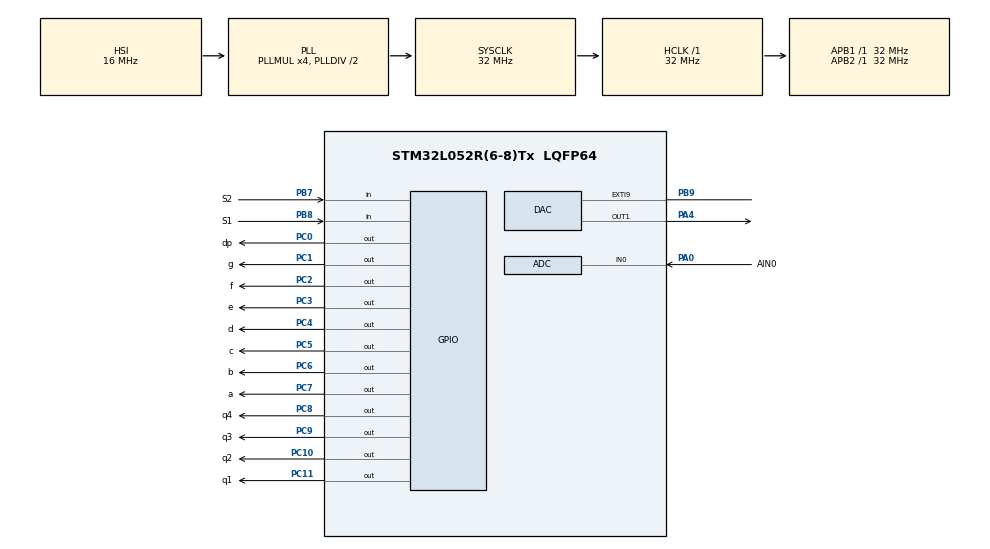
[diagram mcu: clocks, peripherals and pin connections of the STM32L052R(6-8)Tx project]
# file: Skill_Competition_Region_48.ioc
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ADC.EOCSelection=ADC_EOC_SINGLE_SEQ_CONV
DAC.DAC_Trigger=DAC_TRIGGER_EXT_IT9
Dma.DAC_CH1.0.Direction=DMA_MEMORY_TO_PERIPH
Dma.DAC_CH1.0.Instance=DMA1_Channel2
Dma.DAC_CH1.0.MemDataAlignment=DMA_MDATAALIGN_HALFWORD
Dma.DAC_CH1.0.MemInc=DMA_MINC_ENABLE
Dma.DAC_CH1.0.Mode=DMA_CIRCULAR
Dma.DAC_CH1.0.PeriphDataAlignment=DMA_PDATAALIGN_HALFWORD
Dma.DAC_CH1.0.PeriphInc=DMA_PINC_DISABLE
Dma.DAC_CH1.0.Priority=DMA_PRIORITY_LOW
Dma.Request0=DAC_CH1
Mcu.Family=STM32L0
Mcu.Name=STM32L052R(6-8)Tx
Mcu.Package=LQFP64
NVIC.ADC1_COMP_IRQn=true\:0\:0\:true\:false\:true\:true
NVIC.DMA1_Channel2_3_IRQn=true\:1\:0\:true\:false\:true\:false
NVIC.EXTI4_15_IRQn=true\:0\:0\:false\:false\:true\:true
NVIC.TIM21_IRQn=true\:3\:0\:true\:false\:true\:true
PA0.GPIO_Label=AIN0
PA0.Mode=IN0
PA0.Signal=ADC_IN0
PA4.Signal=COMP_DAC1_group
PB7.GPIO_Label=S2
PB7.Signal=GPIO_Input
PB8.GPIO_Label=S1
PB8.Signal=GPIO_Input
PB9.Signal=GPXTI9
PC0.GPIO_Label=dp
PC0.Signal=GPIO_Output
PC1.GPIO_Label=g
PC1.Signal=GPIO_Output
PC10.GPIO_Label=q2
PC10.PinState=GPIO_PIN_SET
PC10.Signal=GPIO_Output
PC11.GPIO_Label=q1
PC11.PinState=GPIO_PIN_SET
PC11.Signal=GPIO_Output
PC2.GPIO_Label=f
PC2.Signal=GPIO_Output
PC3.GPIO_Label=e
PC3.Signal=GPIO_Output
PC4.GPIO_Label=d
PC4.Signal=GPIO_Output
PC5.GPIO_Label=c
PC5.Signal=GPIO_Output
PC6.GPIO_Label=b
PC6.Signal=GPIO_Output
PC7.GPIO_Label=a
PC7.Signal=GPIO_Output
PC8.GPIO_Label=q4
PC8.PinState=GPIO_PIN_SET
PC8.Signal=GPIO_Output
PC9.GPIO_Label=q3
PC9.PinState=GPIO_PIN_SET
PC9.Signal=GPIO_Output
ProjectManager.HeapSize=0x200
ProjectManager.StackSize=0x400
ProjectManager.TargetToolchain=MDK-ARM V5
RCC.AHBFreq_Value=32000000
RCC.APB1Freq_Value=32000000
RCC.APB1TimFreq_Value=32000000
RCC.APB2Freq_Value=32000000
RCC.APB2TimFreq_Value=32000000
RCC.HCLKFreq_Value=32000000
RCC.HSE_VALUE=8000000
RCC.HSI16_VALUE=16000000
RCC.HSI48_VALUE=48000000
RCC.HSI_VALUE=16000000
RCC.LSE_VALUE=32768
RCC.MSI_VALUE=2097000
RCC.PLLMUL=RCC_PLLMUL_4
RCC.SYSCLKFreq_VALUE=32000000
RCC.SYSCLKSource=RCC_SYSCLKSOURCE_PLLCLK
RCC.VCOOutputFreq_Value=64000000
SH.COMP_DAC1_group.0=DAC_OUT1,DAC_OUT1
TIM21.Period=1000
TIM21.Prescaler=16
VP_TIM21_VS_ClockSourceINT.Mode=Internal
board=Skill_Competition_Region_48

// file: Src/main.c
/**
  ******************************************************************************
  * @file           : main.c
  * @brief          : Main program body
  ******************************************************************************
  ** This notice applies to any and all portions of this file
  * that are not between comment pairs USER CODE BEGIN and
  * USER CODE END. Other portions of this file, whether
  * inserted by the user or by software development tools
  * are owned by their respective copyright owners.
  *
  * COPYRIGHT(c) 2018 STMicroelectronics
  *
  * Redistribution and use in source and binary forms, with or without modification,
  * are permitted provided that the following conditions are met:
  *   1. Redistributions of source code must retain the above copyright notice,
  *      this list of conditions and the following disclaimer.
  *   2. Redistributions in binary form must reproduce the above copyright notice,
  *      this list of conditions and the following disclaimer in the documentation
  *      and/or other materials provided with the distribution.
  *   3. Neither the name of STMicroelectronics nor the names of its contributors
  *      may be used to endorse or promote products derived from this software
  *      without specific prior written permission.
  *
  * THIS SOFTWARE IS PROVIDED BY THE COPYRIGHT HOLDERS AND CONTRIBUTORS "AS IS"
  * AND ANY EXPRESS OR IMPLIED WARRANTIES, INCLUDING, BUT NOT LIMITED TO, THE
  * IMPLIED WARRANTIES OF MERCHANTABILITY AND FITNESS FOR A PARTICULAR PURPOSE ARE
  * DISCLAIMED. IN NO EVENT SHALL THE COPYRIGHT HOLDER OR CONTRIBUTORS BE LIABLE
  * FOR ANY DIRECT, INDIRECT, INCIDENTAL, SPECIAL, EXEMPLARY, OR CONSEQUENTIAL
  * DAMAGES (INCLUDING, BUT NOT LIMITED TO, PROCUREMENT OF SUBSTITUTE GOODS OR
  * SERVICES; LOSS OF USE, DATA, OR PROFITS; OR BUSINESS INTERRUPTION) HOWEVER
  * CAUSED AND ON ANY THEORY OF LIABILITY, WHETHER IN CONTRACT, STRICT LIABILITY,
  * OR TORT (INCLUDING NEGLIGENCE OR OTHERWISE) ARISING IN ANY WAY OUT OF THE USE
  * OF THIS SOFTWARE, EVEN IF ADVISED OF THE POSSIBILITY OF SUCH DAMAGE.
  *
  ******************************************************************************
  */
#include "main.h"
#include "stm32l0xx_hal.h"

/* USER CODE BEGIN Includes */
#include "math.h"
#define div 4		//除 4
/* USER CODE END Includes */

ADC_HandleTypeDef hadc;

DAC_HandleTypeDef hdac;
DMA_HandleTypeDef hdma_dac_ch1;

TIM_HandleTypeDef htim21;

/* USER CODE BEGIN PV */
/* Private variables ---------------------------------------------------------*/

/* USER CODE END PV */

void SystemClock_Config(void);
static void MX_GPIO_Init(void);
static void MX_DMA_Init(void);
static void MX_TIM21_Init(void);
static void MX_ADC_Init(void);
static void MX_DAC_Init(void);

/* USER CODE BEGIN PFP */
/* Private function prototypes -----------------------------------------------*/

uint8_t Task = 0;  //項目(任務)
uint8_t Time_Flag = 0;		//時間旗標
uint16_t Past_Time = 0;   //過去時間
uint16_t Present_Time = 0;//現在時間
uint16_t Timer_clock = 0;

/*--------------------數位轉類比(D/A)函式及變數------------------------------------*/
uint8_t Mode = 1;

const uint16_t Wave_forms_Table[][120] = 		//數位轉類比查表
{
		{   // Sin wave
				0x7ff /div, 0x86a /div, 0x8d5 /div, 0x93f /div, 0x9a9 /div, 0xa11 /div, 0xa78 /div, 0xadd /div, 0xb40 /div, 0xba1 /div,
				0xbff /div, 0xc5a /div, 0xcb2 /div, 0xd08 /div, 0xd59 /div, 0xda7 /div, 0xdf1 /div, 0xe36 /div, 0xe77 /div, 0xeb4 /div,
				0xeec /div, 0xf1f /div, 0xf4d /div, 0xf77 /div, 0xf9a /div, 0xfb9 /div, 0xfd2 /div, 0xfe5 /div, 0xff3 /div, 0xffc /div,
				0xfff /div, 0xffc /div, 0xff3 /div, 0xfe5 /div, 0xfd2 /div, 0xfb9 /div, 0xf9a /div, 0xf77 /div, 0xf4d /div, 0xf1f /div,
				0xeec /div, 0xeb4 /div, 0xe77 /div, 0xe36 /div, 0xdf1 /div, 0xda7 /div, 0xd59 /div, 0xd08 /div, 0xcb2 /div, 0xc5a /div,
				0xbff /div, 0xba1 /div, 0xb40 /div, 0xadd /div, 0xa78 /div, 0xa11 /div, 0x9a9 /div, 0x93f /div, 0x8d5 /div, 0x86a /div,
				0x7ff /div, 0x794 /div, 0x729 /div, 0x6bf /div, 0x655 /div, 0x5ed /div, 0x586 /div, 0x521 /div, 0x4be /div, 0x45d /div,
				0x3ff /div, 0x3a4 /div, 0x34c /div, 0x2f6 /div, 0x2a5 /div, 0x257 /div, 0x20d /div, 0x1c8 /div, 0x187 /div, 0x14a /div,
				0x112 /div, 0x0df /div, 0x0b1 /div, 0x087 /div, 0x064 /div, 0x045 /div, 0x02c /div, 0x019 /div, 0x00b /div, 0x002 /div,
				0x000 /div, 0x002 /div, 0x00b /div, 0x019 /div, 0x02c /div, 0x045 /div, 0x064 /div, 0x087 /div, 0x0b1 /div, 0x0df /div,
				0x112 /div, 0x14a /div, 0x187 /div, 0x1c8 /div, 0x20d /div, 0x257 /div, 0x2a5 /div, 0x2f6 /div, 0x34c /div, 0x3a4 /div,
				0x3ff /div, 0x45d /div, 0x4be /div, 0x521 /div, 0x586 /div, 0x5ed /div, 0x655 /div, 0x6bf /div, 0x729 /div, 0x794 /div
		},
		{   // Triangular wave
				0x044 /div, 0x088 /div, 0x0cc /div, 0x110 /div, 0x154 /div, 0x198 /div, 0x1dc /div, 0x220 /div, 0x264 /div, 0x2a8 /div,
				0x2ec /div, 0x330 /div, 0x374 /div, 0x3b8 /div, 0x3fc /div, 0x440 /div, 0x484 /div, 0x4c8 /div, 0x50c /div, 0x550 /div,
				0x594 /div, 0x5d8 /div, 0x61c /div, 0x660 /div, 0x6a4 /div, 0x6e8 /div, 0x72c /div, 0x770 /div, 0x7b4 /div, 0x7f8 /div,
				0x83c /div, 0x880 /div, 0x8c4 /div, 0x908 /div, 0x94c /div, 0x990 /div, 0x9d4 /div, 0xa18 /div, 0xa5c /div, 0xaa0 /div,
				0xae4 /div, 0xb28 /div, 0xb6c /div, 0xbb0 /div, 0xbf4 /div, 0xc38 /div, 0xc7c /div, 0xcc0 /div, 0xd04 /div, 0xd48 /div,
				0xd8c /div, 0xdd0 /div, 0xe14 /div, 0xe58 /div, 0xe9c /div, 0xee0 /div, 0xf24 /div, 0xf68 /div, 0xfac /div, 0xff0 /div,
				0xfac /div, 0xf68 /div, 0xf24 /div, 0xee0 /div, 0xe9c /div, 0xe58 /div, 0xe14 /div, 0xdd0 /div, 0xd8c /div, 0xd48 /div,
				0xd04 /div, 0xcc0 /div, 0xc7c /div, 0xc38 /div, 0xbf4 /div, 0xbb0 /div, 0xb6c /div, 0xb28 /div, 0xae4 /div, 0xaa0 /div,
				0xa5c /div, 0xa18 /div, 0x9d4 /div, 0x990 /div, 0x94c /div, 0x908 /div, 0x8c4 /div, 0x880 /div, 0x83c /div, 0x7f8 /div,
				0x7b4 /div, 0x770 /div, 0x72c /div, 0x6e8 /div, 0x6a4 /div, 0x660 /div, 0x61c /div, 0x5d8 /div, 0x594 /div, 0x550 /div,
				0x50c /div, 0x4c8 /div, 0x484 /div, 0x440 /div, 0x3fc /div, 0x3b8 /div, 0x374 /div, 0x330 /div, 0x2ec /div, 0x2a8 /div,
				0x264 /div, 0x220 /div, 0x1dc /div, 0x198 /div, 0x154 /div, 0x110 /div, 0x0cc /div, 0x088 /div, 0x044 /div, 0x000 /div
		},
		{   // Square wave
				0xfff /div, 0xfff /div, 0xfff /div, 0xfff /div, 0xfff /div, 0xfff /div, 0xfff /div, 0xfff /div, 0xfff /div, 0xfff /div,
				0xfff /div, 0xfff /div, 0xfff /div, 0xfff /div, 0xfff /div, 0xfff /div, 0xfff /div, 0xfff /div, 0xfff /div, 0xfff /div,
				0xfff /div, 0xfff /div, 0xfff /div, 0xfff /div, 0xfff /div, 0xfff /div, 0xfff /div, 0xfff /div, 0xfff /div, 0xfff /div,
				0xfff /div, 0xfff /div, 0xfff /div, 0xfff /div, 0xfff /div, 0xfff /div, 0xfff /div, 0xfff /div, 0xfff /div, 0xfff /div,
				0xfff /div, 0xfff /div, 0xfff /div, 0xfff /div, 0xfff /div, 0xfff /div, 0xfff /div, 0xfff /div, 0xfff /div, 0xfff /div,
				0xfff /div, 0xfff /div, 0xfff /div, 0xfff /div, 0xfff /div, 0xfff /div, 0xfff /div, 0xfff /div, 0xfff /div, 0xfff /div,
				0x000 /div, 0x000 /div, 0x000 /div, 0x000 /div, 0x000 /div, 0x000 /div, 0x000 /div, 0x000 /div, 0x000 /div, 0x000 /div,
				0x000 /div, 0x000 /div, 0x000 /div, 0x000 /div, 0x000 /div, 0x000 /div, 0x000 /div, 0x000 /div, 0x000 /div, 0x000 /div,
				0x000 /div, 0x000 /div, 0x000 /div, 0x000 /div, 0x000 /div, 0x000 /div, 0x000 /div, 0x000 /div, 0x000 /div, 0x000 /div,
				0x000 /div, 0x000 /div, 0x000 /div, 0x000 /div, 0x000 /div, 0x000 /div, 0x000 /div, 0x000 /div, 0x000 /div, 0x000 /div,
				0x000 /div, 0x000 /div, 0x000 /div, 0x000 /div, 0x000 /div, 0x000 /div, 0x000 /div, 0x000 /div, 0x000 /div, 0x000 /div,
				0x000 /div, 0x000 /div, 0x000 /div, 0x000 /div, 0x000 /div, 0x000 /div, 0x000 /div, 0x000 /div, 0x000 /div, 0x000 /div
	  }
};

const uint8_t DAC_Mode[3][3]=	 //DAC的模式顯示
{
	{0x71,0xfd,0x9f},		//F-1			//DAC_Mode[2][1]
	{0x71,0xfd,0x25},		//F-2
	{0x71,0xfd,0x0d}		//F-3
};

/*---------------------------------------------------------------------------------*/

/*----------------------溫度&類比轉數位(A/D)函式及變數-----------------------------*/
uint8_t ADC_inndex = 0; 						//類比轉數位 旗標
uint16_t ADC_Buffer[3] = {0,0,0};		//類比轉數位 暫存器

double R18;			//R18電阻值
double Temperature(void);		//溫度

/*----------------------------------------------------------------------------*/
/*----------------------開關函式----------------------------------------------*/
uint8_t S1_state = 0;				//S1按鈕的狀態
uint8_t S2_state = 0;				//S2按鈕的狀態
uint8_t S1_push_function(uint8_t state);		//S1 按鈕函式
uint8_t S2_push_function(uint8_t state);		//S2 按鈕函式

/*----------------------------------------------------------------------------*/

/*-------------------- 七段函式-----------------------------------------------*/
uint16_t Seven_segment_clock = 0; 				//七段上數計數器變數
uint8_t Seven_segment_Brightness = 2;     //七段顯示的亮度 (0~4)
uint8_t Seven_segment_Bit = 0;						//七段位元
uint8_t Seven_segment_Bits[4] = {0,0,0,0};	//七段掃描顯示位元
void Seven_segment_display(uint8_t scan);	//七段顯示掃描
void Seven_segment_display_Shun_Down(void);//七段顯示黑屏
void Seven_segment_Get_Data(uint8_t data); //丟資料給七段

const uint8_t Seven_segment_decode[10] = {//共陽 七段解碼
		0x03,0x9f,0x25,0x0d,0x99,0x49,
	  0xc1,0x1f,0x01,0x19
};
/*-----------------------------------------------------------------------------*/
/* USER CODE END PFP */

/* USER CODE BEGIN 0 */

void HAL_ADC_ConvCpltCallback(ADC_HandleTypeDef* hadc){
	if(__HAL_ADC_GET_FLAG(hadc,ADC_FLAG_EOC)){
		ADC_Buffer[ADC_inndex] = HAL_ADC_GetValue(hadc);		//讀類比電壓值
		ADC_inndex++;  //ADC旗標加一
	}
	if(__HAL_ADC_GET_FLAG(hadc,ADC_FLAG_EOS)){
		ADC_inndex = 0;		//ADC 旗標清除
	}
}

void HAL_TIM_PeriodElapsedCallback(TIM_HandleTypeDef *htim){	//時間溢位時產生中斷發生，而來到TIM_PeriodElapsedCallback函式執行
	if(htim->Instance == TIM21){		//判斷TIM21是否中斷 , per 0.5ms interrupt equal per 2000Hz interrupt

		Timer_clock = (Timer_clock > 0)?Timer_clock - 1:0;

		/*--------------------- 七段掃描調整亮度  PWM = 0% 25% 50% 75% 100%    頻率100Hz------------------------------------------------------------------------------------*/
		if(Task != 0){
  		//掃描位元
			Seven_segment_Bit = (Seven_segment_Bit > 3)?0:(Seven_segment_clock > 4)?Seven_segment_Bit + 1:Seven_segment_Bit;

			if(Seven_segment_clock < Seven_segment_Brightness){
				Seven_segment_display(Seven_segment_Bit);	//顯示現在的位元
			}
			else{
				Seven_segment_display_Shun_Down();	//顯示黑屏
			}

			Seven_segment_clock = (Seven_segment_clock > 4)?0:Seven_segment_clock + 1;  //上數從 0 數到 4
		}
		/*----------------	---------------------------------------------------------------------------------------------------------------------------------------------------*/

		/*-----------------------按鈕開關掃描偵測---------------------------------------------------------------*/
		S1_state = S1_push_function(S1_state);		//按下去S1_state = 1, 放開S1_state = 2
		S2_state = S2_push_function(S2_state);		//按下去S2_state = 1, 放開S2_state = 2
		if(S1_state == 2){	//當S1按鈕放開時執行下面的程式
			Seven_segment_Bits[3] = 0xff;		//七段第四格位元丟資料為0xff
			HAL_GPIO_WritePin(GPIOC,GPIO_PIN_0,GPIO_PIN_SET);	//PC0 pin 為高電壓
			Timer_clock = 2000;				//給時間時脈為2000,給主程式case 3 和 case 4用,讓七段顯示能維持一秒
			Task = 4;  	//任務 四 ,主程式裡狀態表示
			Mode = (Mode <= 1)?3:Mode - 1;		//DAC 模式顯示在七段的值
			S1_state = 0;	//S1狀態清除為零
			HAL_DAC_Start_DMA(&hdac, DAC_CHANNEL_1, (uint32_t*)(Wave_forms_Table + (Mode - 1)), 120, DAC_ALIGN_12B_R);	//DAC輸出波型查表
		}
		if(S2_state == 2){  //當S2按鈕放開時執行下面的程式
			Seven_segment_Bits[3] = 0xff;		//七段第四格位元丟資料為0xff
			HAL_GPIO_WritePin(GPIOC,GPIO_PIN_0,GPIO_PIN_SET); 	//PC0 pin 為高電壓
			Timer_clock = 2000;		//給時間時脈為2000,給主程式case 3 和 case 4用,讓七段顯示能維持一秒
			Task = 3;			//任務 三 ,主程式裡狀態表示
			Mode = (Mode >= 3)?1:Mode + 1; //DAC 模式顯示在七段的值
			S2_state = 0;			//S2狀態清除為零
			HAL_DAC_Start_DMA(&hdac, DAC_CHANNEL_1, (uint32_t*)(Wave_forms_Table + (Mode - 1)), 120, DAC_ALIGN_12B_R);  //DAC輸出波型查表
		}

		/*--------------------------------------------------------------------------------------------------*/
	}
}

/* USER CODE END 0 */

int main(void)
{
  /* USER CODE BEGIN 1 */
	uint8_t Time_Clock=0;     //時間計數器
	uint8_t Number = 9; //數字
  /* USER CODE END 1 */

  /* MCU Configuration----------------------------------------------------------*/

  /* Reset of all peripherals, Initializes the Flash interface and the Systick. */
  HAL_Init();

  /* Configure the system clock */
  SystemClock_Config();

  /* Initialize all configured peripherals */
  MX_GPIO_Init();
  MX_DMA_Init();
  MX_TIM21_Init();
  MX_ADC_Init();
  MX_DAC_Init();
  /* USER CODE BEGIN 2 */
	HAL_TIM_Base_Start_IT(&htim21);			//TIM21 中斷開始
	HAL_GPIO_WritePin(GPIOC,GPIO_PIN_7,GPIO_PIN_RESET);		//PC7 為低電位
	HAL_GPIO_WritePin(GPIOC,GPIO_PIN_6,GPIO_PIN_SET);			////PC6 為高電位
	HAL_DAC_Start_DMA(&hdac, DAC_CHANNEL_1, (uint32_t*)(Wave_forms_Table + (Mode - 1)), 120, DAC_ALIGN_12B_R);		//DAC輸出波型
  /* USER CODE END 2 */

  /* Infinite loop */
  /* USER CODE BEGIN WHILE */
  while (1)
  {
			switch(Task){  	//判斷執行的任務
				case 0: 			//LED 相對閃爍 3 次
					HAL_GPIO_WritePin(GPIOC,GPIO_PIN_11,GPIO_PIN_RESET);	//PC11 為低電位
					if(Time_Flag){  //初始值 Time_Flag = 0;
						Present_Time = HAL_GetTick();		//儲存現在的時間
						if(Present_Time - Past_Time >250){  // delay 250ms
							HAL_GPIO_TogglePin(GPIOC,GPIO_PIN_7);
							HAL_GPIO_TogglePin(GPIOC,GPIO_PIN_6);
							Time_Flag = 0;        //時間旗標
							if(Time_Clock >= 6){
								HAL_GPIO_WritePin(GPIOC,GPIO_PIN_11,GPIO_PIN_SET);
								Task = 1;						//任務為1
								Number = 9;					//數字9
								Time_Clock = 0;			//時間計數器
								Time_Flag = 0;			//清除Time旗標
								Present_Time = 0;		//清除現在時間
								Past_Time = 0;			//清除過去時間
							}else{
								Time_Clock = Time_Clock + 1;
							}
						}
					}
					else{
						Past_Time = HAL_GetTick();		//儲存過去的時間
						Time_Flag = 1;	//Time 旗標
					}
					break;
				case 1:   		//七段倒數 9 ~ 0
					if(Time_Flag){  //初始值 Time_Flag = 0;
						Present_Time = HAL_GetTick();  //儲存現在的時間
						if(Present_Time - Past_Time >500){  // delay 500ms
							Seven_segment_Bits[2] = Seven_segment_decode[Number];		//七段顯示第二位 Number為丟出來的數字
							Seven_segment_Bits[1] = Seven_segment_decode[Number];		//七段顯示第一位 Number為丟出來的數字
							Seven_segment_Bits[0] = Seven_segment_decode[Number];		//七段顯示第零位 Number為丟出來的數字
							Time_Flag = 0;        //時間旗標
							if(Number > 0){
								Number = Number - 1;	//七段數值減一
							}else{
								Number = 0;						//Number 歸零
								Task = 2;							//任務 2
								Time_Flag = 0;        //時間旗標清除
								Present_Time = 0;			//清除現在時間
								Past_Time = 0;				//清除過去時間
							}
						}
					}
					else{
						Past_Time = HAL_GetTick();   //儲存過去的時間
						Time_Flag = 1;		//Time 旗標
					}
					break;
				case 2: // 顯示現在的室溫
					if(Temperature() >= 10 && Temperature() <= 35){		//判斷溫度是否在 10~35之間
							if(Seven_segment_Bit == 3){			//LED顯示判斷溫度是否超標
								Seven_segment_Bits[3] = 0x7f;	//溫度範圍在10~35之間亮綠燈
							}
					}
					else{
						if(Seven_segment_Bit == 3){
							Seven_segment_Bits[3] = 0xbf; //溫度範圍不在10~35之間亮紅燈
						}
					}

					if(Time_Flag){  //初始值 Time_Flag = 0;
						Present_Time = HAL_GetTick();			//儲存現在的時間
						if(Present_Time - Past_Time >1000){		//delay 1 s
							Seven_segment_Bits[2] = Seven_segment_decode[((uint8_t)Temperature())/10];		//溫度的十位數
							Seven_segment_Bits[1] = Seven_segment_decode[((uint8_t)Temperature())%10];		//溫度的個位數
							Seven_segment_Bits[0] = Seven_segment_decode[((uint8_t)(Temperature()*10))%10]; ////溫度的小數第一位數
							Time_Flag = 0;        //時間旗標清除
						}
					}
					else{
						Past_Time = HAL_GetTick();   //儲存過去的時間
						Time_Flag = 1;			//Time 旗標
					}
					break;
				case 3:			//變換DAC的波型 從 F-1 ~ F-3  維持1秒
					Seven_segment_Bits[2] = DAC_Mode[Mode-1][0];		// F
					Seven_segment_Bits[1] = DAC_Mode[Mode-1][1];		// -
					Seven_segment_Bits[0] = DAC_Mode[Mode-1][2];		// x - 數字

					if(Timer_clock == 0){		//維持1秒
						Task = 2;				//任務回到2
						Seven_segment_Bits[2] = Seven_segment_decode[((uint8_t)Temperature())/10];		//溫度的十位數
						Seven_segment_Bits[1] = Seven_segment_decode[((uint8_t)Temperature())%10];		//溫度的個位數
						Seven_segment_Bits[0] = Seven_segment_decode[((uint8_t)(Temperature()*10))%10]; ////溫度的小數第一位數
					}
					break;
				case 4:     //變換DAC的波型 從 F-3 ~ F-1  維持1秒
					Seven_segment_Bits[2] = DAC_Mode[Mode-1][0];		// F
					Seven_segment_Bits[1] = DAC_Mode[Mode-1][1];		// -
					Seven_segment_Bits[0] = DAC_Mode[Mode-1][2];		// x - 數字
					if(Timer_clock == 0){		//維持1秒
						Task = 2;				//任務回到2
						Seven_segment_Bits[2] = Seven_segment_decode[((uint8_t)Temperature())/10];		//溫度的十位數
						Seven_segment_Bits[1] = Seven_segment_decode[((uint8_t)Temperature())%10];		//溫度的個位數
						Seven_segment_Bits[0] = Seven_segment_decode[((uint8_t)(Temperature()*10))%10]; ////溫度的小數第一位數
					}
					break;
				default:
					Task = 0;
					break;
			}

  /* USER CODE END WHILE */

  }

}

void SystemClock_Config(void)
{

  RCC_OscInitTypeDef RCC_OscInitStruct;
  RCC_ClkInitTypeDef RCC_ClkInitStruct;

    /**Configure the main internal regulator output voltage
    */
  __HAL_PWR_VOLTAGESCALING_CONFIG(PWR_REGULATOR_VOLTAGE_SCALE1);

    /**Initializes the CPU, AHB and APB busses clocks
    */
  RCC_OscInitStruct.OscillatorType = RCC_OSCILLATORTYPE_HSI;
  RCC_OscInitStruct.HSIState = RCC_HSI_ON;
  RCC_OscInitStruct.HSICalibrationValue = 16;
  RCC_OscInitStruct.PLL.PLLState = RCC_PLL_ON;
  RCC_OscInitStruct.PLL.PLLSource = RCC_PLLSOURCE_HSI;
  RCC_OscInitStruct.PLL.PLLMUL = RCC_PLLMUL_4;
  RCC_OscInitStruct.PLL.PLLDIV = RCC_PLLDIV_2;
  if (HAL_RCC_OscConfig(&RCC_OscInitStruct) != HAL_OK)
  {
    _Error_Handler(__FILE__, __LINE__);
  }

    /**Initializes the CPU, AHB and APB busses clocks
    */
  RCC_ClkInitStruct.ClockType = RCC_CLOCKTYPE_HCLK|RCC_CLOCKTYPE_SYSCLK
                              |RCC_CLOCKTYPE_PCLK1|RCC_CLOCKTYPE_PCLK2;
  RCC_ClkInitStruct.SYSCLKSource = RCC_SYSCLKSOURCE_PLLCLK;
  RCC_ClkInitStruct.AHBCLKDivider = RCC_SYSCLK_DIV1;
  RCC_ClkInitStruct.APB1CLKDivider = RCC_HCLK_DIV1;
  RCC_ClkInitStruct.APB2CLKDivider = RCC_HCLK_DIV1;

  if (HAL_RCC_ClockConfig(&RCC_ClkInitStruct, FLASH_LATENCY_1) != HAL_OK)
  {
    _Error_Handler(__FILE__, __LINE__);
  }

    /**Configure the Systick interrupt time
    */
  HAL_SYSTICK_Config(HAL_RCC_GetHCLKFreq()/1000);

    /**Configure the Systick
    */
  HAL_SYSTICK_CLKSourceConfig(SYSTICK_CLKSOURCE_HCLK);

  /* SysTick_IRQn interrupt configuration */
  HAL_NVIC_SetPriority(SysTick_IRQn, 0, 0);
}

/* ADC init function */
static void MX_ADC_Init(void)
{

  ADC_ChannelConfTypeDef sConfig;

    /**Configure the global features of the ADC (Clock, Resolution, Data Alignment and number of conversion)
    */
  hadc.Instance = ADC1;
  hadc.Init.OversamplingMode = DISABLE;
  hadc.Init.ClockPrescaler = ADC_CLOCK_SYNC_PCLK_DIV2;
  hadc.Init.Resolution = ADC_RESOLUTION_12B;
  hadc.Init.SamplingTime = ADC_SAMPLETIME_1CYCLE_5;
  hadc.Init.ScanConvMode = ADC_SCAN_DIRECTION_FORWARD;
  hadc.Init.DataAlign = ADC_DATAALIGN_RIGHT;
  hadc.Init.ContinuousConvMode = DISABLE;
  hadc.Init.DiscontinuousConvMode = DISABLE;
  hadc.Init.ExternalTrigConvEdge = ADC_EXTERNALTRIGCONVEDGE_NONE;
  hadc.Init.ExternalTrigConv = ADC_SOFTWARE_START;
  hadc.Init.DMAContinuousRequests = DISABLE;
  hadc.Init.EOCSelection = ADC_EOC_SINGLE_SEQ_CONV;
  hadc.Init.Overrun = ADC_OVR_DATA_PRESERVED;
  hadc.Init.LowPowerAutoWait = DISABLE;
  hadc.Init.LowPowerFrequencyMode = DISABLE;
  hadc.Init.LowPowerAutoPowerOff = DISABLE;
  if (HAL_ADC_Init(&hadc) != HAL_OK)
  {
    _Error_Handler(__FILE__, __LINE__);
  }

    /**Configure for the selected ADC regular channel to be converted.
    */
  sConfig.Channel = ADC_CHANNEL_0;
  sConfig.Rank = ADC_RANK_CHANNEL_NUMBER;
  if (HAL_ADC_ConfigChannel(&hadc, &sConfig) != HAL_OK)
  {
    _Error_Handler(__FILE__, __LINE__);
  }

}

/* DAC init function */
static void MX_DAC_Init(void)
{

  DAC_ChannelConfTypeDef sConfig;

    /**DAC Initialization
    */
  hdac.Instance = DAC;
  if (HAL_DAC_Init(&hdac) != HAL_OK)
  {
    _Error_Handler(__FILE__, __LINE__);
  }

    /**DAC channel OUT1 config
    */
  sConfig.DAC_Trigger = DAC_TRIGGER_EXT_IT9;
  sConfig.DAC_OutputBuffer = DAC_OUTPUTBUFFER_ENABLE;
  if (HAL_DAC_ConfigChannel(&hdac, &sConfig, DAC_CHANNEL_1) != HAL_OK)
  {
    _Error_Handler(__FILE__, __LINE__);
  }

}

/* TIM21 init function */
static void MX_TIM21_Init(void)
{

  TIM_ClockConfigTypeDef sClockSourceConfig;
  TIM_MasterConfigTypeDef sMasterConfig;

  htim21.Instance = TIM21;
  htim21.Init.Prescaler = 16;
  htim21.Init.CounterMode = TIM_COUNTERMODE_UP;
  htim21.Init.Period = 1000;
  htim21.Init.ClockDivision = TIM_CLOCKDIVISION_DIV1;
  if (HAL_TIM_Base_Init(&htim21) != HAL_OK)
  {
    _Error_Handler(__FILE__, __LINE__);
  }

  sClockSourceConfig.ClockSource = TIM_CLOCKSOURCE_INTERNAL;
  if (HAL_TIM_ConfigClockSource(&htim21, &sClockSourceConfig) != HAL_OK)
  {
    _Error_Handler(__FILE__, __LINE__);
  }

  sMasterConfig.MasterOutputTrigger = TIM_TRGO_RESET;
  sMasterConfig.MasterSlaveMode = TIM_MASTERSLAVEMODE_DISABLE;
  if (HAL_TIMEx_MasterConfigSynchronization(&htim21, &sMasterConfig) != HAL_OK)
  {
    _Error_Handler(__FILE__, __LINE__);
  }

}

static void MX_DMA_Init(void)
{
  /* DMA controller clock enable */
  __HAL_RCC_DMA1_CLK_ENABLE();

  /* DMA interrupt init */
  /* DMA1_Channel2_3_IRQn interrupt configuration */
  HAL_NVIC_SetPriority(DMA1_Channel2_3_IRQn, 1, 0);
  HAL_NVIC_EnableIRQ(DMA1_Channel2_3_IRQn);

}

/** Configure pins as
        * Analog
        * Input
        * Output
        * EVENT_OUT
        * EXTI
*/
static void MX_GPIO_Init(void)
{

  GPIO_InitTypeDef GPIO_InitStruct;

  /* GPIO Ports Clock Enable */
  __HAL_RCC_GPIOC_CLK_ENABLE();
  __HAL_RCC_GPIOA_CLK_ENABLE();
  __HAL_RCC_GPIOB_CLK_ENABLE();

  /*Configure GPIO pin Output Level */
  HAL_GPIO_WritePin(GPIOC, dp_Pin|g_Pin|f_Pin|e_Pin
                          |d_Pin|c_Pin|b_Pin|a_Pin, GPIO_PIN_RESET);

  /*Configure GPIO pin Output Level */
  HAL_GPIO_WritePin(GPIOC, q4_Pin|q3_Pin|q2_Pin|q1_Pin, GPIO_PIN_SET);

  /*Configure GPIO pins : dp_Pin g_Pin f_Pin e_Pin
                           d_Pin c_Pin b_Pin a_Pin
                           q4_Pin q3_Pin q2_Pin q1_Pin */
  GPIO_InitStruct.Pin = dp_Pin|g_Pin|f_Pin|e_Pin
                          |d_Pin|c_Pin|b_Pin|a_Pin
                          |q4_Pin|q3_Pin|q2_Pin|q1_Pin;
  GPIO_InitStruct.Mode = GPIO_MODE_OUTPUT_PP;
  GPIO_InitStruct.Pull = GPIO_NOPULL;
  GPIO_InitStruct.Speed = GPIO_SPEED_FREQ_LOW;
  HAL_GPIO_Init(GPIOC, &GPIO_InitStruct);

  /*Configure GPIO pins : S2_Pin S1_Pin */
  GPIO_InitStruct.Pin = S2_Pin|S1_Pin;
  GPIO_InitStruct.Mode = GPIO_MODE_INPUT;
  GPIO_InitStruct.Pull = GPIO_NOPULL;
  HAL_GPIO_Init(GPIOB, &GPIO_InitStruct);

  /*Configure GPIO pin : PB9 */
  GPIO_InitStruct.Pin = GPIO_PIN_9;
  GPIO_InitStruct.Mode = GPIO_MODE_IT_RISING;
  GPIO_InitStruct.Pull = GPIO_NOPULL;
  HAL_GPIO_Init(GPIOB, &GPIO_InitStruct);

  /* EXTI interrupt init*/
  HAL_NVIC_SetPriority(EXTI4_15_IRQn, 0, 0);
  HAL_NVIC_EnableIRQ(EXTI4_15_IRQn);

}

/* USER CODE BEGIN 4 */
void Seven_segment_display_Shun_Down(void){
	HAL_GPIO_WritePin(GPIOC,GPIO_PIN_8|GPIO_PIN_9|GPIO_PIN_10|GPIO_PIN_11,GPIO_PIN_SET);
}
void Seven_segment_display(uint8_t scan){
	switch(scan){
		case 0: //個位數
			Seven_segment_Get_Data(Seven_segment_Bits[0]);
		  HAL_GPIO_WritePin(GPIOC,GPIO_PIN_8,GPIO_PIN_RESET);
			HAL_GPIO_WritePin(GPIOC,GPIO_PIN_9|GPIO_PIN_10|GPIO_PIN_11,GPIO_PIN_SET);
			break;
		case 1: //十位數
			if(Task == 2)
				Seven_segment_Get_Data(Seven_segment_Bits[1] & 0xFE);			//顯示小數點
			else
				Seven_segment_Get_Data(Seven_segment_Bits[1]);						//不顯示小數點

			HAL_GPIO_WritePin(GPIOC,GPIO_PIN_9,GPIO_PIN_RESET);
			HAL_GPIO_WritePin(GPIOC,GPIO_PIN_8|GPIO_PIN_10|GPIO_PIN_11,GPIO_PIN_SET);
			break;
		case 2: //百位數
			Seven_segment_Get_Data(Seven_segment_Bits[2]);
			HAL_GPIO_WritePin(GPIOC,GPIO_PIN_10,GPIO_PIN_RESET);
			HAL_GPIO_WritePin(GPIOC,GPIO_PIN_8|GPIO_PIN_9|GPIO_PIN_11,GPIO_PIN_SET);
			break;
		case 3:
			if(Task != 0){
				Seven_segment_Get_Data(Seven_segment_Bits[3]);
				HAL_GPIO_WritePin(GPIOC,GPIO_PIN_11,GPIO_PIN_RESET);
				HAL_GPIO_WritePin(GPIOC,GPIO_PIN_8|GPIO_PIN_9|GPIO_PIN_10,GPIO_PIN_SET);
			}
			break;
		default:
			HAL_GPIO_WritePin(GPIOC,GPIO_PIN_8|GPIO_PIN_9|GPIO_PIN_10|GPIO_PIN_11,GPIO_PIN_SET);
			break;
	}
}
void Seven_segment_Get_Data(uint8_t data){		//丟資料給七段
	uint8_t i;
	for(i=0;i<=7;i++){
		if((data>>i) & 0x01)
			HAL_GPIO_WritePin(GPIOC,GPIO_PIN_0 << i,GPIO_PIN_SET);
		else
			HAL_GPIO_WritePin(GPIOC,GPIO_PIN_0 << i,GPIO_PIN_RESET);
	}
}

double Temperature(void){
	double Temperature;
	const float Vcc = 3.3;							//電壓Vcc
	const int     B = 3425;			//3380				//beta 放大係數
	const double T_25 = 273.15 + 25;		//常溫25度
	const double R1 = 10000.0;					//在25度時熱敏電阻為10K歐姆
	const double V1 = 0.1;							//OPA 正端輸入為0.1伏特
	HAL_ADC_Start_IT(&hadc);
	double AIN0 = (((double)ADC_Buffer[0]) * Vcc )/4096.0;
	R18 = (AIN0 - V1) / 0.00001;

	Temperature = ((T_25 * B) / (B + T_25 * log (R18 / R1))) - 273.15;

	return Temperature;
}

uint8_t S1_push_function(uint8_t state){
	switch(state){
		case 0:			//判斷按鈕是否按下
			if(HAL_GPIO_ReadPin(S1_GPIO_Port,S1_Pin)){
				state = 1;
			}
			break;
		case 1:			//判斷按鈕是否放開
			if(!(HAL_GPIO_ReadPin(S1_GPIO_Port,S1_Pin))){
				state = 2;
			}
			break;
		case 2: 		//確定按鈕被按下  備註:請手動把S1_state 清除為零;
			break;
	}
	return state;
}
uint8_t S2_push_function(uint8_t state){
	switch(state){
		case 0:			//判斷按鈕是否按下
			if(HAL_GPIO_ReadPin(S2_GPIO_Port,S2_Pin)){
				state = 1;
			}
			break;
		case 1:			//判斷按鈕是否放開
			if(!(HAL_GPIO_ReadPin(S2_GPIO_Port,S2_Pin))){
				state = 2;
			}
			break;
		case 2: 		//確定按鈕被按下  備註:請手動把S2_state 清除為零;
			break;
	}
	return state;
}
/* USER CODE END 4 */

void _Error_Handler(char *file, int line)
{
  while(1)
  {
  }
}

/************************ (C) COPYRIGHT STMicroelectronics *****END OF FILE****/
